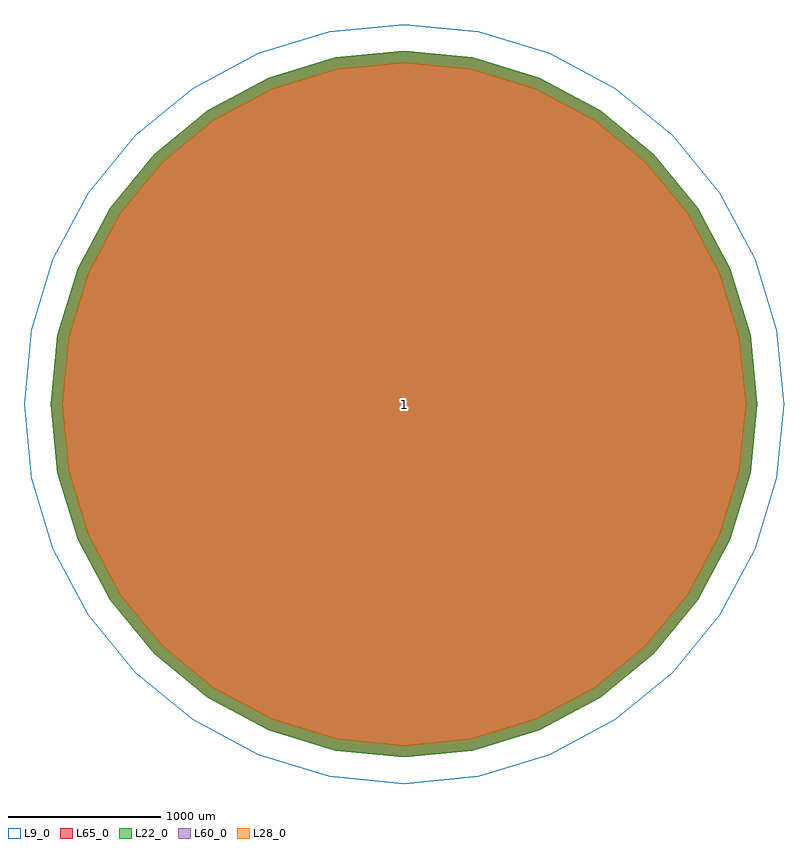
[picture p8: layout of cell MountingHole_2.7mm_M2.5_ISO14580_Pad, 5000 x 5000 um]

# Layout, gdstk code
import gdstk
lib = gdstk.Library(unit=1e-6, precision=1e-09)
def P(c, l, *ps):  # polygons
    for p in ps: c.add(gdstk.Polygon(p, *l))
L9_0 = (9, 0)
L22_0 = (22, 0)
L28_0 = (28, 0)
L60_0 = (60, 0)
L65_0 = (65, 0)

mountinghole_2_7mm_m2_5_ = lib.new_cell('MountingHole_2.7mm_M2.5_ISO14580_Pad')
P(mountinghole_2_7mm_m2_5_, L9_0, [(2500,0),(2451.963,487.726),(2309.699,956.709),(2078.674,1388.926),(1767.767,1767.767),(1388.926,2078.674),(956.709,2309.699),(487.726,2451.963),(0,2500),(-487.726,2451.963),(-956.709,2309.699),(-1388.926,2078.674),(-1767.767,1767.767),(-2078.674,1388.926),(-2309.699,956.709),(-2451.963,487.726),(-2500,0),(-2451.963,-487.726),(-2309.699,-956.709),(-2078.674,-1388.926),(-1767.767,-1767.767),(-1388.926,-2078.674),(-956.709,-2309.699),(-487.726,-2451.963),(0,-2500),(487.726,-2451.963),(956.709,-2309.699),(1388.926,-2078.674),(1767.767,-1767.767),(2078.674,-1388.926),(2309.699,-956.709),(2451.963,-487.726)],
  [(2250,0),(2206.767,438.953),(2078.729,861.038),(1870.807,1250.033),(1590.99,1590.99),(1250.033,1870.807),(861.038,2078.729),(438.953,2206.767),(0,2250),(-438.953,2206.767),(-861.038,2078.729),(-1250.033,1870.807),(-1590.99,1590.99),(-1870.807,1250.033),(-2078.729,861.038),(-2206.767,438.953),(-2250,0),(-2206.767,-438.953),(-2078.729,-861.038),(-1870.807,-1250.033),(-1590.99,-1590.99),(-1250.033,-1870.807),(-861.038,-2078.729),(-438.953,-2206.767),(0,-2250),(438.953,-2206.767),(861.038,-2078.729),(1250.033,-1870.807),(1590.99,-1590.99),(1870.807,-1250.033),(2078.729,-861.038),(2206.767,-438.953)])
P(mountinghole_2_7mm_m2_5_, L22_0, [(2325,0),(2280.326,453.585),(2148.02,889.739),(1933.167,1291.701),(1644.023,1644.023),(1291.701,1933.167),(889.739,2148.02),(453.585,2280.326),(0,2325),(-453.585,2280.326),(-889.739,2148.02),(-1291.701,1933.167),(-1644.023,1644.023),(-1933.167,1291.701),(-2148.02,889.739),(-2280.326,453.585),(-2325,0),(-2280.326,-453.585),(-2148.02,-889.739),(-1933.167,-1291.701),(-1644.023,-1644.023),(-1291.701,-1933.167),(-889.739,-2148.02),(-453.585,-2280.326),(0,-2325),(453.585,-2280.326),(889.739,-2148.02),(1291.701,-1933.167),(1644.023,-1644.023),(1933.167,-1291.701),(2148.02,-889.739),(2280.326,-453.585)])
P(mountinghole_2_7mm_m2_5_, L28_0, [(2250,0),(2206.767,438.953),(2078.729,861.038),(1870.807,1250.033),(1590.99,1590.99),(1250.033,1870.807),(861.038,2078.729),(438.953,2206.767),(0,2250),(-438.953,2206.767),(-861.038,2078.729),(-1250.033,1870.807),(-1590.99,1590.99),(-1870.807,1250.033),(-2078.729,861.038),(-2206.767,438.953),(-2250,0),(-2206.767,-438.953),(-2078.729,-861.038),(-1870.807,-1250.033),(-1590.99,-1590.99),(-1250.033,-1870.807),(-861.038,-2078.729),(-438.953,-2206.767),(0,-2250),(438.953,-2206.767),(861.038,-2078.729),(1250.033,-1870.807),(1590.99,-1590.99),(1870.807,-1250.033),(2078.729,-861.038),(2206.767,-438.953)])
P(mountinghole_2_7mm_m2_5_, L60_0, [(2250,0),(2206.767,438.953),(2078.729,861.038),(1870.807,1250.033),(1590.99,1590.99),(1250.033,1870.807),(861.038,2078.729),(438.953,2206.767),(0,2250),(-438.953,2206.767),(-861.038,2078.729),(-1250.033,1870.807),(-1590.99,1590.99),(-1870.807,1250.033),(-2078.729,861.038),(-2206.767,438.953),(-2250,0),(-2206.767,-438.953),(-2078.729,-861.038),(-1870.807,-1250.033),(-1590.99,-1590.99),(-1250.033,-1870.807),(-861.038,-2078.729),(-438.953,-2206.767),(0,-2250),(438.953,-2206.767),(861.038,-2078.729),(1250.033,-1870.807),(1590.99,-1590.99),(1870.807,-1250.033),(2078.729,-861.038),(2206.767,-438.953)])
P(mountinghole_2_7mm_m2_5_, L65_0, [(2325,0),(2280.326,453.585),(2148.02,889.739),(1933.167,1291.701),(1644.023,1644.023),(1291.701,1933.167),(889.739,2148.02),(453.585,2280.326),(0,2325),(-453.585,2280.326),(-889.739,2148.02),(-1291.701,1933.167),(-1644.023,1644.023),(-1933.167,1291.701),(-2148.02,889.739),(-2280.326,453.585),(-2325,0),(-2280.326,-453.585),(-2148.02,-889.739),(-1933.167,-1291.701),(-1644.023,-1644.023),(-1291.701,-1933.167),(-889.739,-2148.02),(-453.585,-2280.326),(0,-2325),(453.585,-2280.326),(889.739,-2148.02),(1291.701,-1933.167),(1644.023,-1644.023),(1933.167,-1291.701),(2148.02,-889.739),(2280.326,-453.585)])
mountinghole_2_7mm_m2_5_.add(gdstk.Label('1', (0,0), layer=28, texttype=0))
mountinghole_2_7mm_m2_5_.add(gdstk.Label('type', (0,-3250), layer=9, texttype=0))
mountinghole_2_7mm_m2_5_.add(gdstk.Label('devicename', (0,3250), layer=9, texttype=0))

lib.write_gds('MountingHole_2.7mm_M2.5_ISO14580_Pad.gds')
